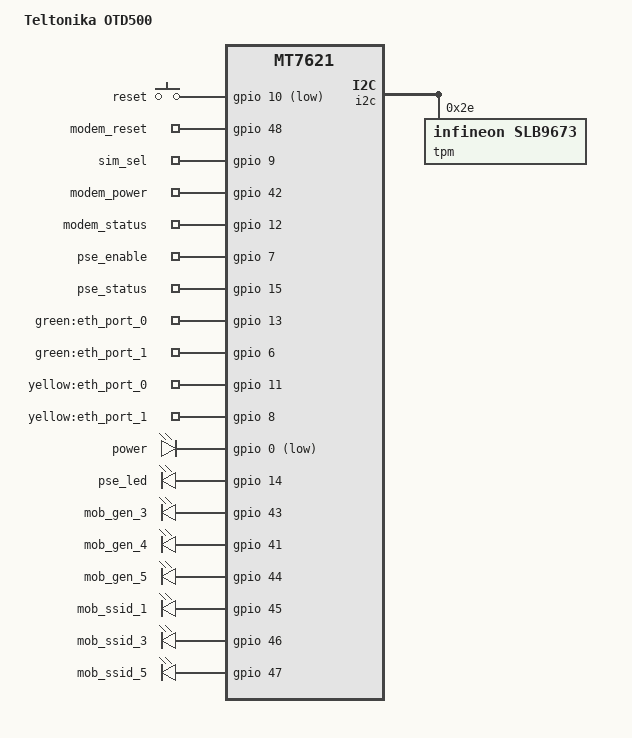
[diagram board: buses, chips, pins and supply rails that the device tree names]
#include "mt7621-teltonika-otd500-flash.dtsi"

/ {
	compatible = "teltonika,otd500", "mediatek,mt7621-soc";
	model = "Teltonika OTD500";

	keys {
		compatible = "gpio-keys";

		reset {
			label = "reset";
			gpios = <&gpio 10 GPIO_ACTIVE_LOW>;
			linux,code = <KEY_RESTART>;
		};
	};

	gpio-export {
		compatible = "gpio-export";
		#size-cells = <0>;

		gpio_modem_reset {
			gpio-export,name = "modem_reset";
			gpio-export,output = <0>;
			gpios = <&gpio 48 GPIO_ACTIVE_HIGH>;
		};

		gpio_sim_select {
			gpio-export,name = "sim_sel";
			gpio-export,output = <0>;
			gpios = <&gpio 9 GPIO_ACTIVE_HIGH>;
		};

		gpio_modem_power {
			gpio-export,name = "modem_power";
			gpio-export,output = <1>; // tmp
			gpios = <&gpio 42 GPIO_ACTIVE_HIGH>;
		};

		gpio_modem_status {
			gpio-export,name = "modem_status";
			gpio-export,input = <0>;
			gpios = <&gpio 12 GPIO_ACTIVE_HIGH>;
		};

		pse_enable {
			gpio-export,name = "pse_enable";
			gpio-export,output = <1>;
			gpios = <&gpio 7 GPIO_ACTIVE_HIGH>;
		};

		pse_status {
			gpio-export,name = "pse_status";
			gpio-export,input = <0>;
			gpios = <&gpio 15 GPIO_ACTIVE_HIGH>;
		};

		green_eth_port_0 {
			gpio-export,name = "green:eth_port_0";
			gpio-export,output = <0>;
			gpios = <&gpio 13 GPIO_ACTIVE_HIGH>;
		};

		green_eth_port_1 {
			gpio-export,name = "green:eth_port_1";
			gpio-export,output = <0>;
			gpios = <&gpio 6 GPIO_ACTIVE_HIGH>;
		};

		yellow_eth_port_0 {
			gpio-export,name = "yellow:eth_port_0";
			gpio-export,output = <0>;
			gpios = <&gpio 11 GPIO_ACTIVE_HIGH>;
		};

		yellow_eth_port_1 {
			gpio-export,name = "yellow:eth_port_1";
			gpio-export,output = <0>;
			gpios = <&gpio 8 GPIO_ACTIVE_HIGH>;
		};
	};

	leds {
		compatible = "gpio-leds";

		led_power {
			label = "power";
			gpios = <&gpio 0 GPIO_ACTIVE_LOW>;
			default-state = "on";
			retain-state-shutdown;
		};

		pse_led {
			label = "pse_led";
			gpios = <&gpio 14 GPIO_ACTIVE_HIGH>;
		};

		led_gen_3 {
			label = "mob_gen_3";
			gpios = <&gpio 43 GPIO_ACTIVE_HIGH>;
		};

		led_gen_4 {
			label = "mob_gen_4";
			gpios = <&gpio 41 GPIO_ACTIVE_HIGH>;
		};

		led_gen_5 {
			label = "mob_gen_5";
			gpios = <&gpio 44 GPIO_ACTIVE_HIGH>;
		};

		led_ssid_1 {
			label = "mob_ssid_1";
			gpios = <&gpio 45 GPIO_ACTIVE_HIGH>;
			linux,default-trigger = "timer"; // only
		};

		led_ssid_3 {
			label = "mob_ssid_3";
			gpios = <&gpio 46 GPIO_ACTIVE_HIGH>;
			linux,default-trigger = "timer"; // only
		};

		led_ssid_5 {
			label = "mob_ssid_5";
			gpios = <&gpio 47 GPIO_ACTIVE_HIGH>;
			linux,default-trigger = "timer"; // only
		};

	};

	tlt_gpios { // Modify according to wiki page "DTS syntax with Libgpiod changes"
		gpiochip_info {
			hw_0 {
				hwver = <0>;
				gpiochip_count = <4>;

				gpiochip_0 = <32>; // Built-in
				gpiochip_1 = <32>; // Built-in
				gpiochip_2 = <32>; // Built-in
			};
		};


		ledman {
			GPIO_0 {
				line_name = "LED_POWER";
			};
			GPIO_14 {
				line_name = "PSE_LED";
			};
			GPIO_6 {
				line_name = "LED_ETH_GREEN_1";
			};
			GPIO_13 {
				line_name = "LED_ETH_GREEN_0";
			};
			GPIO_11 {
				line_name = "LED_ETH_YELLOW_0";
			};
			GPIO_8 {
				line_name = "LED_ETH_YELLOW_1";
			};
			GPIO_43 {
				line_name = "LED_TECH_GEN_3";
			};
			GPIO_41 {
				line_name = "LED_TECH_GEN_4";
			};
			GPIO_44 {
				line_name = "LED_TECH_GEN_5";
			};
			GPIO_45 {
				line_name = "LED_SSID_1";
			};
			GPIO_46 {
				line_name = "LED_SSID_3";
			};
			GPIO_47 {
				line_name = "LED_SSID_5";
			};
		};

		poeman {
			GPIO_7 {
				line_name = "PSE_ENABLE";
			};
			GPIO_15 {
				line_name = "PSE_STATUS";
			};
		};

		misc {
			GPIO_48 {
				line_name = "GPIO_MODEM_RESET_1";
			};
			GPIO_42 {
				line_name = "GPIO_MODEM_POWER_1";
			};
			GPIO_12 {
				line_name = "GPIO_MODEM_STATUS";
			};
			GPIO_9 {
				line_name = "GPIO_SIM_SELECT";
			};
		};
	};

	poeman {
		bus = "/dev/i2c-0";
		budget@0 {
			budget = <15400>;
		};
	};
};

&state_default {
	gpio {
		groups = "wdt", "jtag", "sdhci", "uart2", "uart3";
		function = "gpio";
	};
};

&switch0 {
	ports {
		port@3 {
			status = "okay";
			label = "lan2";
		};

		port@4 {
			status = "okay";
			label = "lan1";
		};
	};
};

&i2c {
	status = "okay";

	tpm@2e {
		compatible = "infineon,slb9673";
		reg = <0x2e>;
		status = "okay";
	};
};

&mnfinfo {
	sim_cfg {
		default = "1111100_1112000_1121200";
	};
};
